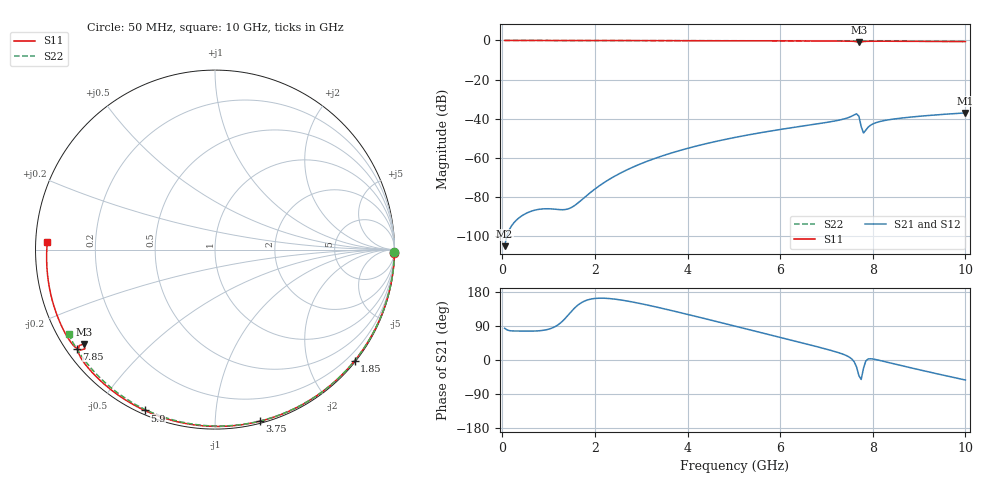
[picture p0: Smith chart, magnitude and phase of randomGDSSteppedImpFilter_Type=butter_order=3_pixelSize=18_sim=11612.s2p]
! freq	dB(S11)	phase(S11)	dB(S12)	phase(S12)
!  dB(S21)	phase(S21)	dB(S22)	phase(S22)
!S-par simulation data
#  GHz  S  DB  R 50
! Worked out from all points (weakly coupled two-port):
!   200 points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, 50 MHz to 10 GHz, reference 50 ohm
!   highest |S21| = -37.03 dB at 10 GHz (marker M1); lowest = -105.1 dB at 50 MHz (marker M2)
!   lowest |S11| = -0.9 dB at 7.7 GHz (marker M3), VSWR 18.69, Z = 2.95 - j16.1 ohm
!   |S11| at or under -10 dB: nowhere
!   |S22| runs from -0.5 to 0.0 dB; largest |S21 - S12| = 0
!   S11 on the Smith chart (normalised r, x): 50 MHz: open; 1.85 GHz: 0.03, -2.86; 3.75 GHz: 0.02, -1.29; 5.9 GHz: 0.02, -0.65; 7.85 GHz: 0.03, -0.32; 10 GHz: 0.03, +0.02
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0.05  -0.00 -1.1  -105.15 83.7  -105.15 83.7  -0.00 -0.9
0.85  -0.02 -17.9  -86.14 77.8  -86.14 77.8  -0.02 -14.6
1.75  -0.05 -36.5  -80.77 154.0  -80.77 154.0  -0.04 -29.7
1.85  -0.05 -38.5  -78.77 158.8  -78.77 158.8  -0.04 -31.4
2.15  -0.06 -44.5  -73.41 163.2  -73.41 163.2  -0.05 -36.3
2.5  -0.07 -51.5  -68.43 159.5  -68.43 159.5  -0.05 -42.1
2.9  -0.08 -59.3  -63.92 151.0  -63.92 151.0  -0.06 -48.5
3.4  -0.09 -68.9  -59.44 137.8  -59.44 137.8  -0.07 -56.5
3.75  -0.10 -75.4  -56.82 127.8  -56.82 127.8  -0.08 -61.9
5.05  -0.15 -98.9  -49.45 88.7  -49.45 88.7  -0.13 -81.6
5.9  -0.19 -113.6  -45.88 62.7  -45.88 62.7  -0.16 -93.8
6.7  -0.25 -127.1  -42.99 38.1  -42.99 38.1  -0.20 -105.1
7.35  -0.31 -138.4  -40.30 15.7  -40.30 15.7  -0.25 -114.0
7.65  -0.66 -144.8  -37.53 -18.4  -37.53 -18.4  -0.27 -118.1
7.7  -0.93 -144.2  -38.73 -41.2  -38.73 -41.2  -0.28 -118.8
7.75  -0.80 -142.7  -44.01 -51.4  -44.01 -51.4  -0.29 -119.5
7.8  -0.58 -143.2  -47.31 -21.7  -47.31 -21.7  -0.29 -120.1
7.85  -0.48 -144.4  -45.81 -2.4  -45.81 -2.4  -0.29 -120.8
8  -0.40 -147.5  -42.68 2.7  -42.68 2.7  -0.30 -122.8
8.35  -0.40 -153.8  -40.52 -6.9  -40.52 -6.9  -0.33 -127.5
9.2  -0.49 -168.5  -38.36 -31.2  -38.36 -31.2  -0.42 -139.0
10  -0.58 177.3  -37.03 -52.8  -37.03 -52.8  -0.51 -150.0
